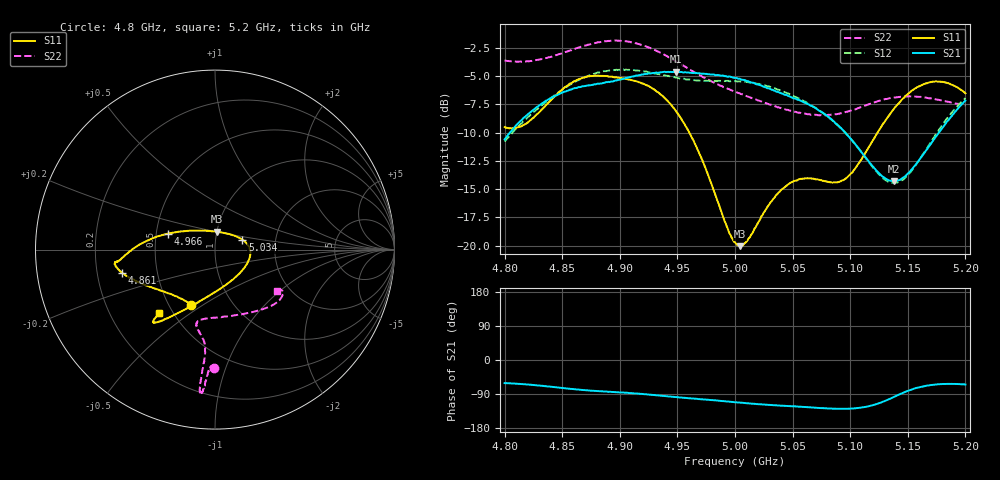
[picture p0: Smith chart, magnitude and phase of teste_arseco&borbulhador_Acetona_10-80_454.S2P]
! Network Analyzer HP8722D
! Hewlett-Packard
! Data name: Linha & Wilkinson
! Saver's name: Rodrigo Anjos
! Comments: Teste da utilização de aquisição
! continua pelo VNA HP8722D
! Time and date: 17/4/2025 18:08
!  Frequency  S11  S21  S12  S22
# HZ  S  MA R 50
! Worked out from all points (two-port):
!   401 points, 4.8 GHz to 5.2 GHz, reference 50 ohm
!   highest |S21| = -4.63 dB at 4.949 GHz (marker M1); lowest = -14.3 dB at 5.138 GHz (marker M2)
!   |S21| within 3 dB of the highest: 4.83 GHz to 5.066 GHz (236.1 MHz wide, 4.77 % of centre); 5.195756 GHz to end of sweep
!   lowest |S11| = -20.0 dB at 5.004 GHz (marker M3), VSWR 1.22, Z = 50.1 + j10 ohm
!   |S11| at or under -10 dB: 4.96 GHz to 5.124 GHz (163.4 MHz wide, 3.24 % of centre)
!   |S22| runs from -8.5 to -1.9 dB; largest |S21 - S12| = 0.88
!   S11 on the Smith chart (normalised r, x): 4.8 GHz: 0.64, -0.44; 4.861 GHz: 0.31, -0.11; 4.966 GHz: 0.58, +0.11; 5.034 GHz: 1.35, +0.15; 5.2 GHz: 0.42, -0.38
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4.8e9  0.3342 -113.7  0.2948 -60.9  0.2884 -175.1  0.6574 -90.3
4.819e9  0.3477 -134.0  0.3764 -64.5  0.3643 -173.9  0.6525 -91.9
4.861e9  0.5345 -166.1  0.4972 -77.3  0.5293 -177.1  0.7407 -94.2
4.867e9  0.5501 -168.5  0.5054 -79.1  0.5473 -178.2  0.7597 -94.2
4.898e9  0.5522 -172.9  0.5392 -85.0  0.5974 175.5  0.8053 -95.6
4.934e9  0.4732 -179.0  0.5821 -93.8  0.5732 171.5  0.7177 -96.2
4.949e9  0.3916 173.6  0.587 -97.8  0.5534 172.0  0.6512 -95.9
4.966e9  0.2773 161.2  0.5796 -102.2  0.5377 173.5  0.5783 -95.4
4.993e9  0.1211 119.4  0.5588 -109.3  0.5345 175.9  0.4953 -98.1
5e9  0.1033 97.7  0.5515 -111.6  0.5334 175.9  0.4787 -99.6
5.004e9  0.09956 83.9  0.5472 -112.4  0.5323 175.9  0.4717 -100.5
5.011e9  0.106 61.1  0.5334 -114.5  0.528 175.7  0.4557 -102.2
5.034e9  0.1625 19.8  0.4841 -119.5  0.4971 174.5  0.4136 -103.8
5.049e9  0.1904 4.7  0.4528 -121.9  0.4638 173.9  0.3943 -100.0
5.067e9  0.1981 -14.6  0.4138 -125.1  0.415 173.5  0.3798 -90.7
5.086e9  0.1905 -45.0  0.3535 -128.6  0.351 173.4  0.3806 -76.0
5.097e9  0.1995 -67.6  0.3103 -128.7  0.3109 174.6  0.3905 -66.9
5.134e9  0.3787 -117.2  0.194 -103.1  0.1907 -155.9  0.4483 -43.1
5.138e9  0.4029 -119.6  0.1923 -97.3  0.1894 -149.7  0.4516 -41.3
5.151e9  0.4723 -125.3  0.2107 -80.4  0.2078 -129.9  0.4569 -36.6
5.17e9  0.5281 -129.6  0.2817 -66.1  0.287 -112.3  0.4477 -32.2
5.2e9  0.4713 -131.2  0.4373 -64.7  0.4492 -106.8  0.4168 -33.7
